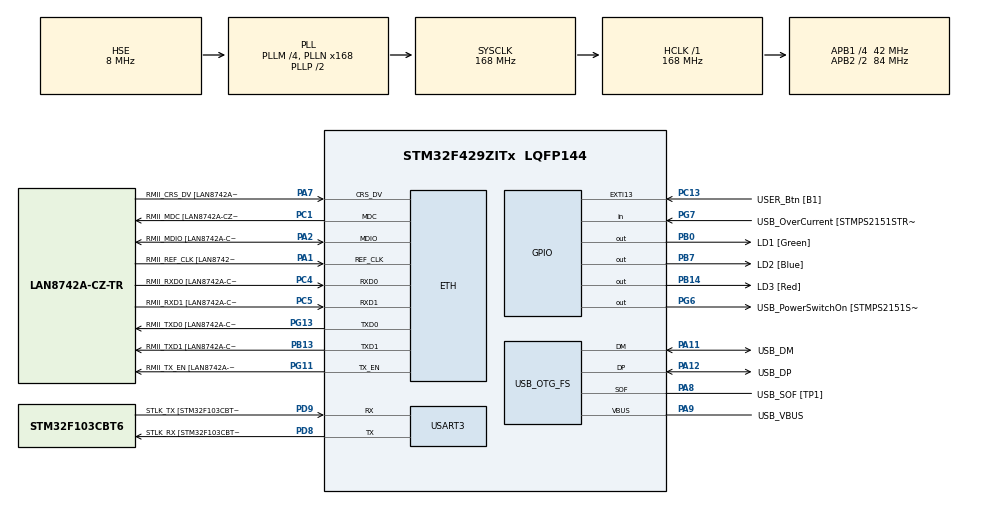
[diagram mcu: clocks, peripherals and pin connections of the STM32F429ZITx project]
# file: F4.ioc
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ETH.MediaInterface=HAL_ETH_RMII_MODE
ETH.PHY_Name=LAN8742A_PHY_ADDRESS
ETH.PHY_Value=0
ETH.PhyAddress=0
Mcu.Family=STM32F4
Mcu.Name=STM32F429ZITx
Mcu.Package=LQFP144
NVIC.PriorityGroup=NVIC_PRIORITYGROUP_4
PA1.GPIO_Label=RMII_REF_CLK [LAN8742A-CZ-TR_REFCLK0]
PA1.Mode=RMII
PA1.Signal=ETH_REF_CLK
PA10.GPIO_Label=USB_ID
PA10.Signal=USB_OTG_FS_ID
PA11.GPIO_Label=USB_DM
PA11.Mode=Device_Only
PA11.Signal=USB_OTG_FS_DM
PA12.GPIO_Label=USB_DP
PA12.Mode=Device_Only
PA12.Signal=USB_OTG_FS_DP
PA13.GPIO_Label=TMS
PA13.Mode=Serial_Wire
PA13.Signal=SYS_JTMS-SWDIO
PA14.GPIO_Label=TCK
PA14.Mode=Serial_Wire
PA14.Signal=SYS_JTCK-SWCLK
PA2.GPIO_Label=RMII_MDIO [LAN8742A-CZ-TR_MDIO]
PA2.Mode=RMII
PA2.Signal=ETH_MDIO
PA7.GPIO_Label=RMII_CRS_DV [LAN8742A-CZ-TR_CRS_DV]
PA7.Mode=RMII
PA7.Signal=ETH_CRS_DV
PA8.GPIO_Label=USB_SOF [TP1]
PA8.Mode=Activate_SOF_FS
PA8.Signal=USB_OTG_FS_SOF
PA9.GPIO_Label=USB_VBUS
PA9.Mode=Activate_VBUS
PA9.Signal=USB_OTG_FS_VBUS
PB0.GPIO_Label=LD1 [Green]
PB0.Signal=GPIO_Output
PB13.GPIO_Label=RMII_TXD1 [LAN8742A-CZ-TR_TXD1]
PB13.Mode=RMII
PB13.Signal=ETH_TXD1
PB14.GPIO_Label=LD3 [Red]
PB14.Signal=GPIO_Output
PB7.GPIO_Label=LD2 [Blue]
PB7.Signal=GPIO_Output
PC1.GPIO_Label=RMII_MDC [LAN8742A-CZ-TR_MDC]
PC1.Mode=RMII
PC1.Signal=ETH_MDC
PC13.GPIO_Label=USER_Btn [B1]
PC13.Signal=GPXTI13
PC14/OSC32_IN.Mode=LSE-External-Oscillator
PC14/OSC32_IN.Signal=RCC_OSC32_IN
PC15/OSC32_OUT.Mode=LSE-External-Oscillator
PC15/OSC32_OUT.Signal=RCC_OSC32_OUT
PC4.GPIO_Label=RMII_RXD0 [LAN8742A-CZ-TR_RXD0]
PC4.Mode=RMII
PC4.Signal=ETH_RXD0
PC5.GPIO_Label=RMII_RXD1 [LAN8742A-CZ-TR_RXD1]
PC5.Mode=RMII
PC5.Signal=ETH_RXD1
PD8.GPIO_Label=STLK_RX [STM32F103CBT6_PA3]
PD8.Mode=Asynchronous
PD8.Signal=USART3_TX
PD9.GPIO_Label=STLK_TX [STM32F103CBT6_PA2]
PD9.Mode=Asynchronous
PD9.Signal=USART3_RX
PG11.GPIO_Label=RMII_TX_EN [LAN8742A-CZ-TR_TXEN]
PG11.Mode=RMII
PG11.Signal=ETH_TX_EN
PG13.GPIO_Label=RMII_TXD0 [LAN8742A-CZ-TR_TXD0]
PG13.Mode=RMII
PG13.Signal=ETH_TXD0
PG6.GPIO_Label=USB_PowerSwitchOn [STMPS2151STR_EN]
PG6.Signal=GPIO_Output
PG7.GPIO_Label=USB_OverCurrent [STMPS2151STR_FAULT]
PG7.Signal=GPIO_Input
PH0/OSC_IN.GPIO_Label=MCO [STM32F103CBT6_PA8]
PH0/OSC_IN.Mode=HSE-External-Clock-Source
PH0/OSC_IN.Signal=RCC_OSC_IN
PH1/OSC_OUT.Mode=HSE-External-Clock-Source
PH1/OSC_OUT.Signal=RCC_OSC_OUT
ProjectManager.HeapSize=0x200
ProjectManager.StackSize=0x400
ProjectManager.TargetToolchain=STM32CubeIDE
RCC.48MHZClocksFreq_Value=48000000
RCC.AHBFreq_Value=168000000
RCC.APB1CLKDivider=RCC_HCLK_DIV4
RCC.APB1Freq_Value=42000000
RCC.APB1TimFreq_Value=84000000
RCC.APB2CLKDivider=RCC_HCLK_DIV2
RCC.APB2Freq_Value=84000000
RCC.APB2TimCLKDivider=2
RCC.APB2TimFreq_Value=168000000
RCC.CortexFreq_Value=168000000
RCC.HCLKFreq_Value=168000000
RCC.HSE_VALUE=8000000
RCC.HSI_VALUE=16000000
RCC.PLLM=4
RCC.PLLMUL=RCC_PLL_MUL9
RCC.PLLN=168
RCC.PLLQ=7
RCC.PRESCALERUSB=RCC_USBCLKSOURCE_PLL_DIV1_5
RCC.SYSCLKFreq_VALUE=168000000
RCC.SYSCLKSource=RCC_SYSCLKSOURCE_PLLCLK
RCC.SYSCLKSourceVirtual=RCC_SYSCLKSOURCE_PLLCLK
RCC.USBFreq_Value=48000000
RCC.VCOOutputFreq_Value=336000000
USART3.VirtualMode=VM_ASYNC
USB_OTG_FS.VirtualMode=Device_Only
board=NUCLEO-F429ZI

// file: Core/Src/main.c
/* USER CODE BEGIN Header */
/**
  ******************************************************************************
  * @file           : main.c
  * @brief          : Main program body
  ******************************************************************************
  * @attention
  *
  * Copyright (c) 2025 STMicroelectronics.
  * All rights reserved.
  *
  * This software is licensed under terms that can be found in the LICENSE file
  * in the root directory of this software component.
  * If no LICENSE file comes with this software, it is provided AS-IS.
  *
  ******************************************************************************
  */
/* USER CODE END Header */
#include "main.h"
#include "string.h"

/* USER CODE BEGIN PD */
#define RETARDO1 50
#define RETARDO2 100
#define RETARDO3 300
#define DELAY 50
/* USER CODE END PD */

ETH_TxPacketConfig TxConfig;
ETH_DMADescTypeDef  DMARxDscrTab[ETH_RX_DESC_CNT]; /* Ethernet Rx DMA Descriptors */
ETH_DMADescTypeDef  DMATxDscrTab[ETH_TX_DESC_CNT]; /* Ethernet Tx DMA Descriptors */

ETH_HandleTypeDef heth;

UART_HandleTypeDef huart3;

PCD_HandleTypeDef hpcd_USB_OTG_FS;

void SystemClock_Config(void);
static void MX_GPIO_Init(void);
static void MX_ETH_Init(void);
static void MX_USART3_UART_Init(void);
static void MX_USB_OTG_FS_PCD_Init(void);

/* USER CODE BEGIN 0 */
void print_number(int num) {
    char buffer[6];  // Espacio para hasta 5 dígitos más el carácter nulo '\0'
    int index = 0;
    // Extraer los dígitos de num y almacenarlos en buffer en orden inverso
    do {
        buffer[index++] = (num % 10) + '0';  // Extraemos el último dígito y lo convertimos a carácter
        num = num / 10;  // Eliminamos el último dígito dividiendo entre 10
    } while (num > 0);  // Continuamos hasta que el número se reduzca a 0

    // Invertir el orden de los dígitos en buffer para obtener el número correcto
    for (int i = 0, j = index - 1; i < j; i++, j--) {
        char temp = buffer[i];
        buffer[i] = buffer[j];
        buffer[j] = temp;
    }
    buffer[index] = '\0';  // Agregar el carácter nulo para finalizar la cadena

    // Enviar el número por UART
    HAL_UART_Transmit(&huart3, (uint8_t*)buffer, index, HAL_MAX_DELAY);

    // Enviar nueva línea
    HAL_UART_Transmit(&huart3, (uint8_t*)"\r\n", 2, HAL_MAX_DELAY);
}
void simple_uart_test() {
	const char msg[] = "Hello, UART!\r\n";
    HAL_UART_Transmit(&huart3, (uint8_t*)msg, sizeof(msg) - 1, HAL_MAX_DELAY);
    }
/* USER CODE END 0 */

int main(void)
{

  /* MCU Configuration--------------------------------------------------------*/

  /* Reset of all peripherals, Initializes the Flash interface and the Systick. */
  HAL_Init();

  /* Configure the system clock */
  SystemClock_Config();

  /* Initialize all configured peripherals */
  MX_GPIO_Init();
  MX_ETH_Init();
  MX_USART3_UART_Init();
  MX_USB_OTG_FS_PCD_Init();
  /* USER CODE BEGIN 2 */
  int contador = 0;
  int button_pressed = 0;
  uint8_t B1[]=" Botón presionado 1 veces \n\r";
  uint8_t B2[]=" Botón presionado 2 veces \n\r";
  uint8_t B3[]=" Botón presionado 3 veces \n\r";
  uint8_t B4[]=" Botón presionado 4 veces \n\r";
  uint8_t B5[]=" Botón presionado 5 veces \n\r";
  uint8_t B6[]=" Botón presionado 6 veces \n\r";
  uint8_t L1[]=" LED1 encendido \n\r";
  uint8_t L2[]=" LED2 encendido \n\r";
  uint8_t L3[]=" LED3 encendido \n\r";
  uint8_t L1o[]=" LED1 apagado \n\r";
  uint8_t L2o[]=" LED2 apagado \n\r";
  uint8_t L3o[]=" LED3 apagado \n\r";
  /* USER CODE END 2 */

  /* Infinite loop */
  /* USER CODE BEGIN WHILE */

  while (1)
  {
	  simple_uart_test();
	  if (HAL_GPIO_ReadPin(GPIOC, GPIO_PIN_13) == GPIO_PIN_RESET) {
          if (!button_pressed) {
              contador++;
              if (contador > 2) {
                  contador = 0;
              }
              button_pressed = 2;
          }
      } else {
          button_pressed = 0;

      }
      if (contador == 0) {
          HAL_GPIO_WritePin(GPIOD, GPIO_PIN_2, GPIO_PIN_SET);  // LED Verde ON
          HAL_GPIO_WritePin(GPIOD, GPIO_PIN_3, GPIO_PIN_RESET);
          HAL_GPIO_WritePin(GPIOD, GPIO_PIN_1, GPIO_PIN_RESET);
          HAL_Delay(DELAY);
          print_number(contador);
          HAL_UART_Transmit(&huart3, B1, strlen(B1), HAL_MAX_DELAY);
          HAL_UART_Transmit(&huart3, L1, strlen(L1), HAL_MAX_DELAY);
      }
      else if (contador == 1) {
          HAL_GPIO_WritePin(GPIOD, GPIO_PIN_3, GPIO_PIN_SET);  // LED Naranja ON
          HAL_GPIO_WritePin(GPIOD, GPIO_PIN_2, GPIO_PIN_RESET);
          HAL_GPIO_WritePin(GPIOD, GPIO_PIN_1, GPIO_PIN_RESET);

          HAL_Delay(DELAY);
          print_number(contador);
          HAL_UART_Transmit(&huart3, B2, strlen(B2), HAL_MAX_DELAY);
          HAL_UART_Transmit(&huart3, L2, strlen(L2), HAL_MAX_DELAY);
      }
      else if (contador == 2) {
          HAL_GPIO_WritePin(GPIOD, GPIO_PIN_1, GPIO_PIN_SET);  // LED Rojo ON
          HAL_GPIO_WritePin(GPIOD, GPIO_PIN_2, GPIO_PIN_RESET);
          HAL_GPIO_WritePin(GPIOD, GPIO_PIN_3, GPIO_PIN_RESET);
          HAL_Delay(DELAY);
          print_number(contador);

      }

    /* USER CODE END WHILE */

  }
}

void SystemClock_Config(void)
{
  RCC_OscInitTypeDef RCC_OscInitStruct = {0};
  RCC_ClkInitTypeDef RCC_ClkInitStruct = {0};

  /** Configure the main internal regulator output voltage
  */
  __HAL_RCC_PWR_CLK_ENABLE();
  __HAL_PWR_VOLTAGESCALING_CONFIG(PWR_REGULATOR_VOLTAGE_SCALE1);

  /** Initializes the RCC Oscillators according to the specified parameters
  * in the RCC_OscInitTypeDef structure.
  */
  RCC_OscInitStruct.OscillatorType = RCC_OSCILLATORTYPE_HSE;
  RCC_OscInitStruct.HSEState = RCC_HSE_BYPASS;
  RCC_OscInitStruct.PLL.PLLState = RCC_PLL_ON;
  RCC_OscInitStruct.PLL.PLLSource = RCC_PLLSOURCE_HSE;
  RCC_OscInitStruct.PLL.PLLM = 4;
  RCC_OscInitStruct.PLL.PLLN = 168;
  RCC_OscInitStruct.PLL.PLLP = RCC_PLLP_DIV2;
  RCC_OscInitStruct.PLL.PLLQ = 7;
  if (HAL_RCC_OscConfig(&RCC_OscInitStruct) != HAL_OK)
  {
    Error_Handler();
  }

  /** Initializes the CPU, AHB and APB buses clocks
  */
  RCC_ClkInitStruct.ClockType = RCC_CLOCKTYPE_HCLK|RCC_CLOCKTYPE_SYSCLK
                              |RCC_CLOCKTYPE_PCLK1|RCC_CLOCKTYPE_PCLK2;
  RCC_ClkInitStruct.SYSCLKSource = RCC_SYSCLKSOURCE_PLLCLK;
  RCC_ClkInitStruct.AHBCLKDivider = RCC_SYSCLK_DIV1;
  RCC_ClkInitStruct.APB1CLKDivider = RCC_HCLK_DIV4;
  RCC_ClkInitStruct.APB2CLKDivider = RCC_HCLK_DIV2;

  if (HAL_RCC_ClockConfig(&RCC_ClkInitStruct, FLASH_LATENCY_5) != HAL_OK)
  {
    Error_Handler();
  }
}

static void MX_ETH_Init(void)
{

   static uint8_t MACAddr[6];

  heth.Instance = ETH;
  MACAddr[0] = 0x00;
  MACAddr[1] = 0x80;
  MACAddr[2] = 0xE1;
  MACAddr[3] = 0x00;
  MACAddr[4] = 0x00;
  MACAddr[5] = 0x00;
  heth.Init.MACAddr = &MACAddr[0];
  heth.Init.MediaInterface = HAL_ETH_RMII_MODE;
  heth.Init.TxDesc = DMATxDscrTab;
  heth.Init.RxDesc = DMARxDscrTab;
  heth.Init.RxBuffLen = 1524;

  if (HAL_ETH_Init(&heth) != HAL_OK)
  {
    Error_Handler();
  }

  memset(&TxConfig, 0 , sizeof(ETH_TxPacketConfig));
  TxConfig.Attributes = ETH_TX_PACKETS_FEATURES_CSUM | ETH_TX_PACKETS_FEATURES_CRCPAD;
  TxConfig.ChecksumCtrl = ETH_CHECKSUM_IPHDR_PAYLOAD_INSERT_PHDR_CALC;
  TxConfig.CRCPadCtrl = ETH_CRC_PAD_INSERT;

}

static void MX_USART3_UART_Init(void)
{

  huart3.Instance = USART3;
  huart3.Init.BaudRate = 115200;
  huart3.Init.WordLength = UART_WORDLENGTH_8B;
  huart3.Init.StopBits = UART_STOPBITS_1;
  huart3.Init.Parity = UART_PARITY_NONE;
  huart3.Init.Mode = UART_MODE_TX_RX;
  huart3.Init.HwFlowCtl = UART_HWCONTROL_NONE;
  huart3.Init.OverSampling = UART_OVERSAMPLING_16;
  if (HAL_UART_Init(&huart3) != HAL_OK)
  {
    Error_Handler();
  }

}

static void MX_USB_OTG_FS_PCD_Init(void)
{

  hpcd_USB_OTG_FS.Instance = USB_OTG_FS;
  hpcd_USB_OTG_FS.Init.dev_endpoints = 4;
  hpcd_USB_OTG_FS.Init.speed = PCD_SPEED_FULL;
  hpcd_USB_OTG_FS.Init.dma_enable = DISABLE;
  hpcd_USB_OTG_FS.Init.phy_itface = PCD_PHY_EMBEDDED;
  hpcd_USB_OTG_FS.Init.Sof_enable = ENABLE;
  hpcd_USB_OTG_FS.Init.low_power_enable = DISABLE;
  hpcd_USB_OTG_FS.Init.lpm_enable = DISABLE;
  hpcd_USB_OTG_FS.Init.vbus_sensing_enable = ENABLE;
  hpcd_USB_OTG_FS.Init.use_dedicated_ep1 = DISABLE;
  if (HAL_PCD_Init(&hpcd_USB_OTG_FS) != HAL_OK)
  {
    Error_Handler();
  }

}

static void MX_GPIO_Init(void)
{
  GPIO_InitTypeDef GPIO_InitStruct = {0};

  /* GPIO Ports Clock Enable */
  __HAL_RCC_GPIOC_CLK_ENABLE();
  __HAL_RCC_GPIOH_CLK_ENABLE();
  __HAL_RCC_GPIOA_CLK_ENABLE();
  __HAL_RCC_GPIOB_CLK_ENABLE();
  __HAL_RCC_GPIOD_CLK_ENABLE();
  __HAL_RCC_GPIOG_CLK_ENABLE();

  /*Configure GPIO pin Output Level */
  HAL_GPIO_WritePin(GPIOB, LD1_Pin|LD3_Pin|LD2_Pin, GPIO_PIN_RESET);

  /*Configure GPIO pin Output Level */
  HAL_GPIO_WritePin(USB_PowerSwitchOn_GPIO_Port, USB_PowerSwitchOn_Pin, GPIO_PIN_RESET);

  /*Configure GPIO pin : USER_Btn_Pin */
  GPIO_InitStruct.Pin = USER_Btn_Pin;
  GPIO_InitStruct.Mode = GPIO_MODE_IT_RISING;
  GPIO_InitStruct.Pull = GPIO_NOPULL;
  HAL_GPIO_Init(USER_Btn_GPIO_Port, &GPIO_InitStruct);

  /*Configure GPIO pins : LD1_Pin LD3_Pin LD2_Pin */
  GPIO_InitStruct.Pin = LD1_Pin|LD3_Pin|LD2_Pin;
  GPIO_InitStruct.Mode = GPIO_MODE_OUTPUT_PP;
  GPIO_InitStruct.Pull = GPIO_NOPULL;
  GPIO_InitStruct.Speed = GPIO_SPEED_FREQ_LOW;
  HAL_GPIO_Init(GPIOB, &GPIO_InitStruct);

  /*Configure GPIO pin : USB_PowerSwitchOn_Pin */
  GPIO_InitStruct.Pin = USB_PowerSwitchOn_Pin;
  GPIO_InitStruct.Mode = GPIO_MODE_OUTPUT_PP;
  GPIO_InitStruct.Pull = GPIO_NOPULL;
  GPIO_InitStruct.Speed = GPIO_SPEED_FREQ_LOW;
  HAL_GPIO_Init(USB_PowerSwitchOn_GPIO_Port, &GPIO_InitStruct);

  /*Configure GPIO pin : USB_OverCurrent_Pin */
  GPIO_InitStruct.Pin = USB_OverCurrent_Pin;
  GPIO_InitStruct.Mode = GPIO_MODE_INPUT;
  GPIO_InitStruct.Pull = GPIO_NOPULL;
  HAL_GPIO_Init(USB_OverCurrent_GPIO_Port, &GPIO_InitStruct);

}

void Error_Handler(void)
{
  __disable_irq();
  while (1)
  {
  }
}
